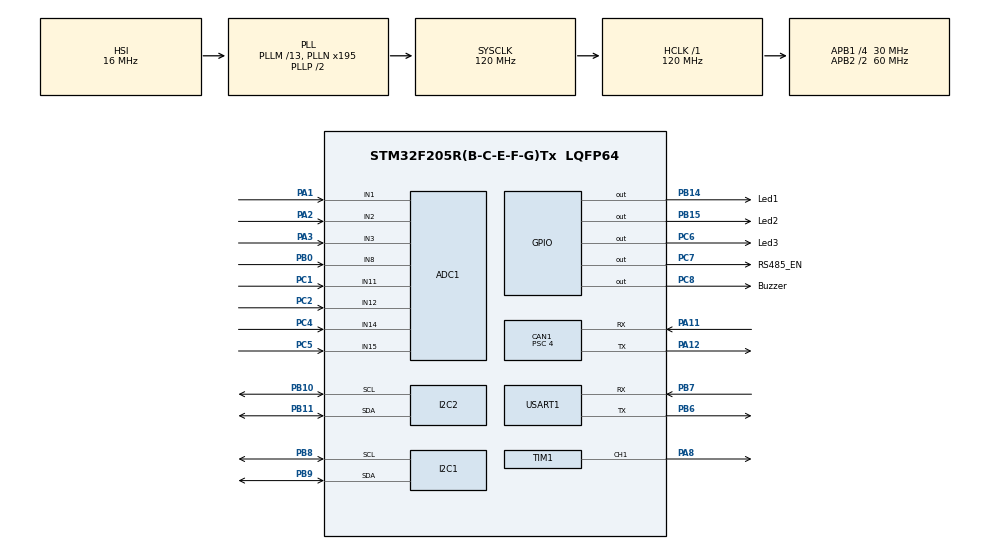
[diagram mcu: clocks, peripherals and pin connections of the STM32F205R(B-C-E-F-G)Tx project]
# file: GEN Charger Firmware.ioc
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ADC1.Channel-0\#ChannelRegularConversion=ADC_CHANNEL_1
ADC1.Channel-1\#ChannelRegularConversion=ADC_CHANNEL_2
ADC1.Channel-2\#ChannelRegularConversion=ADC_CHANNEL_3
ADC1.Channel-3\#ChannelRegularConversion=ADC_CHANNEL_14
ADC1.Channel-4\#ChannelRegularConversion=ADC_CHANNEL_15
ADC1.Channel-5\#ChannelRegularConversion=ADC_CHANNEL_11
ADC1.Channel-8\#ChannelRegularConversion=ADC_CHANNEL_12
ADC1.Channel-9\#ChannelRegularConversion=ADC_CHANNEL_8
ADC1.ContinuousConvMode=ENABLE
ADC1.DMAContinuousRequests=ENABLE
ADC1.NbrOfConversion=8
ADC1.NbrOfConversionFlag=1
ADC1.Rank-0\#ChannelRegularConversion=1
ADC1.Rank-1\#ChannelRegularConversion=2
ADC1.Rank-2\#ChannelRegularConversion=3
ADC1.Rank-3\#ChannelRegularConversion=4
ADC1.Rank-4\#ChannelRegularConversion=5
ADC1.Rank-5\#ChannelRegularConversion=6
ADC1.Rank-8\#ChannelRegularConversion=7
ADC1.Rank-9\#ChannelRegularConversion=8
ADC1.SamplingTime-0\#ChannelRegularConversion=ADC_SAMPLETIME_144CYCLES
ADC1.SamplingTime-1\#ChannelRegularConversion=ADC_SAMPLETIME_144CYCLES
ADC1.SamplingTime-2\#ChannelRegularConversion=ADC_SAMPLETIME_144CYCLES
ADC1.SamplingTime-3\#ChannelRegularConversion=ADC_SAMPLETIME_144CYCLES
ADC1.SamplingTime-4\#ChannelRegularConversion=ADC_SAMPLETIME_144CYCLES
ADC1.SamplingTime-5\#ChannelRegularConversion=ADC_SAMPLETIME_144CYCLES
ADC1.SamplingTime-8\#ChannelRegularConversion=ADC_SAMPLETIME_144CYCLES
ADC1.SamplingTime-9\#ChannelRegularConversion=ADC_SAMPLETIME_144CYCLES
ADC1.ScanConvMode=ENABLE
ADC1.master=1
CAN1.BS1=CAN_BS1_12TQ
CAN1.BS2=CAN_BS2_2TQ
CAN1.CalculateBaudRate=500000
CAN1.CalculateTimeBit=1999.99
CAN1.CalculateTimeQuantum=133.33333333333334
CAN1.Prescaler=4
Dma.ADC1.0.Direction=DMA_PERIPH_TO_MEMORY
Dma.ADC1.0.FIFOMode=DMA_FIFOMODE_DISABLE
Dma.ADC1.0.Instance=DMA2_Stream0
Dma.ADC1.0.MemDataAlignment=DMA_MDATAALIGN_HALFWORD
Dma.ADC1.0.MemInc=DMA_MINC_ENABLE
Dma.ADC1.0.Mode=DMA_CIRCULAR
Dma.ADC1.0.PeriphDataAlignment=DMA_PDATAALIGN_HALFWORD
Dma.ADC1.0.PeriphInc=DMA_PINC_DISABLE
Dma.ADC1.0.Priority=DMA_PRIORITY_HIGH
Dma.Request0=ADC1
I2C1.I2C_Mode=I2C_Standard
I2C2.I2C_Mode=I2C_Fast
IWDG.Prescaler=IWDG_PRESCALER_64
Mcu.Family=STM32F2
Mcu.Name=STM32F205R(B-C-E-F-G)Tx
Mcu.Package=LQFP64
NVIC.CAN1_RX0_IRQn=true\:1\:0\:true\:false\:true\:true\:true
NVIC.DMA2_Stream0_IRQn=true\:0\:0\:false\:false\:true\:false\:true
NVIC.PriorityGroup=NVIC_PRIORITYGROUP_4
NVIC.TIM2_IRQn=true\:1\:0\:true\:false\:true\:true\:true
NVIC.TIM3_IRQn=true\:1\:0\:true\:false\:true\:true\:true
NVIC.TIM4_IRQn=true\:1\:0\:true\:false\:true\:true\:true
NVIC.USART1_IRQn=true\:0\:0\:true\:false\:true\:true\:true
PA1.Signal=ADCx_IN1
PA11.Mode=CAN_Activate
PA11.Signal=CAN1_RX
PA12.Mode=CAN_Activate
PA12.Signal=CAN1_TX
PA13.Mode=Serial_Wire
PA13.Signal=SYS_JTMS-SWDIO
PA14.Mode=Serial_Wire
PA14.Signal=SYS_JTCK-SWCLK
PA2.Signal=ADCx_IN2
PA3.Signal=ADCx_IN3
PA8.GPIO_Speed=GPIO_SPEED_FREQ_VERY_HIGH
PA8.Signal=S_TIM1_CH1
PB0.Signal=ADCx_IN8
PB10.Mode=I2C
PB10.Signal=I2C2_SCL
PB11.Mode=I2C
PB11.Signal=I2C2_SDA
PB14.GPIO_Label=Led1
PB14.Signal=GPIO_Output
PB15.GPIO_Label=Led2
PB15.Signal=GPIO_Output
PB6.Mode=Asynchronous
PB6.Signal=USART1_TX
PB7.Mode=Asynchronous
PB7.Signal=USART1_RX
PB8.Mode=I2C
PB8.Signal=I2C1_SCL
PB9.Mode=I2C
PB9.Signal=I2C1_SDA
PC1.Signal=ADCx_IN11
PC2.Signal=ADCx_IN12
PC4.Signal=ADCx_IN14
PC5.Signal=ADCx_IN15
PC6.GPIO_Label=Led3
PC6.Signal=GPIO_Output
PC7.GPIO_Label=RS485_EN
PC7.Signal=GPIO_Output
PC8.GPIO_Label=Buzzer
PC8.Signal=GPIO_Output
ProjectManager.HeapSize=0x200
ProjectManager.StackSize=0x400
ProjectManager.TargetToolchain=STM32CubeIDE
RCC.48MHZClocksFreq_Value=60000000
RCC.AHBFreq_Value=120000000
RCC.APB1CLKDivider=RCC_HCLK_DIV4
RCC.APB1Freq_Value=30000000
RCC.APB1TimFreq_Value=60000000
RCC.APB2CLKDivider=RCC_HCLK_DIV2
RCC.APB2Freq_Value=60000000
RCC.APB2TimFreq_Value=120000000
RCC.CortexFreq_Value=120000000
RCC.HCLKFreq_Value=120000000
RCC.HSE_VALUE=25000000
RCC.HSI_VALUE=16000000
RCC.LSE_VALUE=32768
RCC.PLLM=13
RCC.PLLN=195
RCC.SYSCLKFreq_VALUE=120000000
RCC.SYSCLKSource=RCC_SYSCLKSOURCE_PLLCLK
RCC.VCOOutputFreq_Value=240000000
SH.ADCx_IN1.0=ADC1_IN1,IN1
SH.ADCx_IN11.0=ADC1_IN11,IN11
SH.ADCx_IN12.0=ADC1_IN12,IN12
SH.ADCx_IN14.0=ADC1_IN14,IN14
SH.ADCx_IN15.0=ADC1_IN15,IN15
SH.ADCx_IN2.0=ADC1_IN2,IN2
SH.ADCx_IN3.0=ADC1_IN3,IN3
SH.ADCx_IN8.0=ADC1_IN8,IN8
SH.S_TIM1_CH1.0=TIM1_CH1,PWM Generation1 CH1
TIM1.Channel-PWM\ Generation1\ CH1=TIM_CHANNEL_1
TIM1.Period=5999
TIM2.Period=999
TIM2.Prescaler=59
TIM3.Period=9999
TIM3.Prescaler=599
TIM4.Period=5999
TIM4.Prescaler=4
USART1.VirtualMode=VM_ASYNC
VP_IWDG_VS_IWDG.Mode=IWDG_Activate
VP_TIM1_VS_ClockSourceINT.Mode=Internal
VP_TIM2_VS_ClockSourceINT.Mode=Internal
VP_TIM3_VS_ClockSourceINT.Mode=Internal
VP_TIM4_VS_ClockSourceINT.Mode=Internal
board=custom

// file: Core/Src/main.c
/* USER CODE BEGIN Header */
/**
  ******************************************************************************
  * @file           : main.c
  * @brief          : Main program body
  ******************************************************************************
  * @attention
  *
  * <h2><center>&copy; Copyright (c) 2020 STMicroelectronics.
  * All rights reserved.</center></h2>
  *
  * This software component is licensed by ST under BSD 3-Clause license,
  * the "License"; You may not use this file except in compliance with the
  * License. You may obtain a copy of the License at:
  *                        opensource.org/licenses/BSD-3-Clause
  *
  ******************************************************************************
  CAN-RS485
  */
/* USER CODE END Header */
#include "main.h"
#include "adc.h"
#include "can.h"
#include "dma.h"
#include "i2c.h"
#include "iwdg.h"
#include "tim.h"
#include "usart.h"
#include "gpio.h"

/* USER CODE BEGIN Includes */

#include "ssd1306.h"
#include "i2c-lcd.h"
#include "stdio.h"
#include <stdlib.h>
#include <string.h>
#include <stdbool.h>
#include "EEPROM.h"

/* USER CODE END Includes */

/* USER CODE BEGIN PV */
CAN_TxHeaderTypeDef		Tx_Header;
CAN_RxHeaderTypeDef 	Rx_Header;
/* USER CODE END PV */

void SystemClock_Config(void);
/* USER CODE BEGIN PFP */
uint8_t			z=0, data, EEPROM_data;
char 			buffer_i2c[100];
char 			usart_Tx_buffer[100];
extern uint8_t	Eror_Code,send;
extern uint8_t	Rx_data[8];
extern float 	dc;
int 			Delay_ForceSWAP = 0;
uint8_t			buffer_serial;
/* USER CODE END PFP */

int main(void)
{

  /* MCU Configuration--------------------------------------------------------*/

  /* Reset of all peripherals, Initializes the Flash interface and the Systick. */
    HAL_Init();

  /* Configure the system clock */
  SystemClock_Config();

  /* Initialize all configured peripherals */
  MX_GPIO_Init();
  MX_DMA_Init();
  MX_I2C2_Init();
  MX_TIM1_Init();
  MX_CAN1_Init();
  MX_I2C1_Init();
  MX_ADC1_Init();
  MX_TIM2_Init();
  MX_USART1_UART_Init();
  MX_TIM3_Init();
  MX_IWDG_Init();
  MX_TIM4_Init();
  /* USER CODE BEGIN 2 */
  HAL_Delay(500);
  Charger_Mode = 0;
  flag_CHARGE_MODE=0;
  Eror_Code = 0;
  CHARGER_ON_Init();
  reset=0;
  send = 1;
  /* USER CODE END 2 */

  /* Infinite loop */
  /* USER CODE BEGIN WHILE */
  EEPROM_isDeviceReady(0XA0);
  EEPROM_WriteData(10, 15);
  HAL_UART_Receive_IT(&huart1, &buffer_serial, 1);

  while (1)
  {

    /* USER CODE END WHILE */

    /* USER CODE BEGIN 3 */
	  if(Charger_Mode==1) 		{
		  Display_ChargeMode();
		  flag_charge = 1;
	  }
	  else if (Charger_Mode==2)	Display_ProtectionMode();
	  else						Display_StanbyMode();

	  if(flag_charge == 1 && Charger_Mode == 0){	// Deteksi perubahan state dari charge ke standby
		  Ready_toHandshake = 0;					// Variable bantu untuk delay handshaking
		  if(flag_FullCharge == 1) {
			  send = 1;
			  oke = 2;
			  if(BPack_SOC < 85){
				  send = 2;	//send data to activate the mosfet
				  Ready_toCharge = 1;
				  Handshake_Recognition = 1;
				  flag_FullCharge = 0;
			  }
		  }
		  if(flag_ForceSwap == 1) {
			  send = 1;
			  Handshake_Recognition = 0;
			  Ready_toCharge = 0;

			  Delay_ForceSWAP += 1;
			  if(Delay_ForceSWAP >= 300){
					Eror_Code = 0;
					Handshake_Recognition = 0;
					Ready_toCharge = 0;
					BPack_Voltage = 0;
					BPack_Current = 0;
					BPack_SOC = 0;
					BPack_Temp = 0;
					BPack_Capacity = 0;
					BPack_SOH = 0;
					BPack_cycle = 0;
					BPack_byte6 = 0;
					BPack_byte7 = 0;
				  UNIQUE_Code = 0;
				  Ready_toHandshake = 1;
				  flag_charge = 0;
				  Delay_ForceSWAP = 0;
				  LastCharger_Mode = 0;
				  flag_ForceSwap = 0;
				  flag_FullCharge = 0;

			  }
		  }
	  }

	  HAL_IWDG_Refresh(&hiwdg);
  }
  /* USER CODE END 3 */
}

void SystemClock_Config(void)
{
  RCC_OscInitTypeDef RCC_OscInitStruct = {0};
  RCC_ClkInitTypeDef RCC_ClkInitStruct = {0};

  /** Initializes the RCC Oscillators according to the specified parameters
  * in the RCC_OscInitTypeDef structure.
  */
  RCC_OscInitStruct.OscillatorType = RCC_OSCILLATORTYPE_HSI|RCC_OSCILLATORTYPE_LSI;
  RCC_OscInitStruct.HSIState = RCC_HSI_ON;
  RCC_OscInitStruct.HSICalibrationValue = RCC_HSICALIBRATION_DEFAULT;
  RCC_OscInitStruct.LSIState = RCC_LSI_ON;
  RCC_OscInitStruct.PLL.PLLState = RCC_PLL_ON;
  RCC_OscInitStruct.PLL.PLLSource = RCC_PLLSOURCE_HSI;
  RCC_OscInitStruct.PLL.PLLM = 13;
  RCC_OscInitStruct.PLL.PLLN = 195;
  RCC_OscInitStruct.PLL.PLLP = RCC_PLLP_DIV2;
  RCC_OscInitStruct.PLL.PLLQ = 4;
  if (HAL_RCC_OscConfig(&RCC_OscInitStruct) != HAL_OK)
  {
    Error_Handler();
  }
  /** Initializes the CPU, AHB and APB buses clocks
  */
  RCC_ClkInitStruct.ClockType = RCC_CLOCKTYPE_HCLK|RCC_CLOCKTYPE_SYSCLK
                              |RCC_CLOCKTYPE_PCLK1|RCC_CLOCKTYPE_PCLK2;
  RCC_ClkInitStruct.SYSCLKSource = RCC_SYSCLKSOURCE_PLLCLK;
  RCC_ClkInitStruct.AHBCLKDivider = RCC_SYSCLK_DIV1;
  RCC_ClkInitStruct.APB1CLKDivider = RCC_HCLK_DIV4;
  RCC_ClkInitStruct.APB2CLKDivider = RCC_HCLK_DIV2;

  if (HAL_RCC_ClockConfig(&RCC_ClkInitStruct, FLASH_LATENCY_3) != HAL_OK)
  {
    Error_Handler();
  }
}

/* USER CODE BEGIN 4 */
void HAL_ADC_ConvCpltCallback(ADC_HandleTypeDef *hadc)
{
	if (hadc->Instance==ADC1)
	{
		ADC_VoutN = ADC_value[0];
		ADC_VoutP = ADC_value[1];
		ADC_Iin = ADC_value[2];
		ADC_temp1 = ADC_value[3];
		ADC_temp2 = ADC_value[4];
		ADC_VinN = ADC_value[5];
		ADC_VinP = ADC_value[6];
		ADC_Iout = ADC_value[7];
	}
}

void CHARGER_ON_Init(void)
{
	HAL_GPIO_WritePin(GPIOC, Buzzer_Pin,1);
//	HAL_GPIO_WritePin(GPIOC, Led3_Pin,1);
	HAL_Delay(300);
	HAL_GPIO_TogglePin(GPIOC, Buzzer_Pin);
//	HAL_GPIO_TogglePin(GPIOC, Led3_Pin);
	HAL_Delay(300);
	HAL_GPIO_TogglePin(GPIOC, Buzzer_Pin);
//	HAL_GPIO_TogglePin(GPIOC, Led3_Pin);
	HAL_Delay(100);
	HAL_GPIO_TogglePin(GPIOC, Buzzer_Pin);
//	HAL_GPIO_TogglePin(GPIOC, Led3_Pin);
	HAL_Delay(100);
	HAL_GPIO_TogglePin(GPIOC, Buzzer_Pin);
//	HAL_GPIO_TogglePin(GPIOC, Led3_Pin);
	HAL_Delay(100);
	HAL_GPIO_TogglePin(GPIOC, Buzzer_Pin);
//	HAL_GPIO_TogglePin(GPIOC, Led3_Pin);
	HAL_Delay(100);

	SSD1306_Init();
	HAL_Delay(1000);
	SSD1306_Fill(SSD1306_COLOR_BLACK);
	SSD1306_UpdateScreen();

	CAN_Setting();

	SSD1306_GotoXY (15,10);
	SSD1306_Puts ("GEN-I Charger", &Font_7x10, 1);
	SSD1306_GotoXY (50, 30);
	SSD1306_Puts ("V1.0", &Font_7x10, 1);
	SSD1306_UpdateScreen(); //display
	SSD1306_Fill (0);

	Ready_toHandshake = 1;
	HAL_TIM_Base_Start(&htim1);
	HAL_TIM_PWM_Start(&htim1, TIM_CHANNEL_1);
	HAL_TIM_Base_Start_IT(&htim2);
	HAL_TIM_Base_Start_IT(&htim3);
	HAL_TIM_Base_Start_IT(&htim4);
	HAL_ADC_Start_DMA(&hadc1, (uint32_t*)&ADC_value, 8);
	HAL_Delay(1000);
//	Charger_Mode=1;
}

void Display_StanbyMode(void){
	SSD1306_Fill (0);
	SSD1306_GotoXY (20,30);
	SSD1306_Puts ("STANBY-Mode", &Font_7x10, 1);
	SSD1306_UpdateScreen(); //display
	HAL_GPIO_WritePin(GPIOC, Buzzer_Pin, 0);

//	sprintf(buffer_i2c," RS485 TEST ");
//	HAL_UART_Transmit_IT(&huart1, (uint8_t *)buffer_i2c, strlen(buffer_i2c));
//	HAL_UART_Transmit_IT(&huart1, (uint8_t *)buffer_i2c, strlen(buffer_i2c));
}

void Display_ProtectionMode(void){
	SSD1306_Fill (0);
	SSD1306_GotoXY (20,10);
	SSD1306_Puts ("FAULT Protect", &Font_7x10, 1);

	sprintf(buffer_i2c, "Eror =%2d", Eror_Code);
	SSD1306_GotoXY (20,30);
	SSD1306_Puts (buffer_i2c, &Font_7x10, 1);

	SSD1306_UpdateScreen(); //display
}

void Display_ChargeMode(void){
	SSD1306_Fill (0);

	sprintf(buffer_i2c, "HOLE-%d : ",HOLE);
	SSD1306_GotoXY (3,0);
	SSD1306_Puts (buffer_i2c, &Font_7x10, 1);

	if(flag_CHARGE_MODE == 0) sprintf(buffer_i2c, "(CC)");
	else if(flag_CHARGE_MODE == 1) sprintf(buffer_i2c, "(CV)");
	else sprintf(buffer_i2c, "(-)");

	SSD1306_GotoXY (97,0);
	SSD1306_Puts (buffer_i2c, &Font_7x10, 1);

	sprintf(buffer_i2c, "%05s", UPPER_UNIQUE_Code);
	SSD1306_GotoXY (60,0);
	SSD1306_Puts (buffer_i2c, &Font_7x10, 1);

	sprintf(buffer_i2c, ">> %4.1f|%4.1f|%4.1f \r\n", dc, BPack_SOC, BPack_Temp);
//	sprintf(buffer_i2c, "D = %4.1f | %4d   \r\n", dc, EEPROM_ReadData(10));
	SSD1306_GotoXY (3,13);
	SSD1306_Puts (buffer_i2c, &Font_7x10, 1);

	if(Delay_USART == 1){
	sprintf(buffer_i2c,"%4.3f,%4.2f,%4.2f,%4.2f,%4.0f \r\n", duty, Voltage_Charger, Current_Charger, BPack_SOC, Ah_CONSUMPTION);
//	sprintf(buffer_i2c,"%4.0f,%4.0f,%4.0f",ADC_Average_VoutP,ADC_Average_VoutN,ADC_VoltageResult);
//	HAL_UART_Transmit_IT(&huart1, (uint8_t *)buffer_i2c, strlen(buffer_i2c));
//	HAL_UART_Transmit_IT(&huart1, (uint8_t *)buffer_i2c, strlen(buffer_i2c));
	Delay_USART = 0;
	}

	HAL_Delay(10);

	sprintf(buffer_i2c, "T = %4.1f | %4.1f", Temp_T1, Temp_T2);
	SSD1306_GotoXY (3,23);
	SSD1306_Puts (buffer_i2c, &Font_7x10, 1);

	sprintf(buffer_i2c, "V = %4.0f | %5.2f", ADC_VoltageResult, Voltage_Charger);
//	sprintf(buffer_i2c,"%4.0f|%4.0f|%4.0f",ADC_Average_VoutP,ADC_Average_VoutN,ADC_VoltageResult);
	SSD1306_GotoXY (3,33);
	SSD1306_Puts (buffer_i2c, &Font_7x10, 1);

	sprintf(buffer_i2c, "A = %4.0f | %5.2f", ADC_Average_Iout, Current_Charger);
	SSD1306_GotoXY (3,43);
	SSD1306_Puts (buffer_i2c, &Font_7x10, 1);

	sprintf(buffer_i2c, "E =%2d--%2d ", Eror_Code, LastEror_code);
	SSD1306_GotoXY (3,53);
	SSD1306_Puts (buffer_i2c, &Font_7x10, 1);

	sprintf(buffer_i2c, "%5.0f", Ah_CONSUMPTION);
	SSD1306_GotoXY (80,53);
	SSD1306_Puts (buffer_i2c, &Font_7x10, 1);

	SSD1306_UpdateScreen(); //display
}

/* USER CODE END 4 */

void Error_Handler(void)
{
}

/************************ (C) COPYRIGHT STMicroelectronics *****END OF FILE****/
